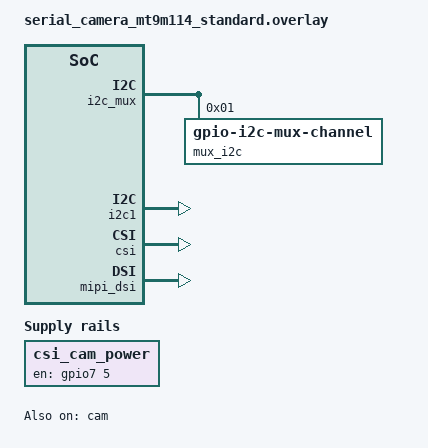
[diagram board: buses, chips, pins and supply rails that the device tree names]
/* Copyright (C) 2026 Alif Semiconductor - All Rights Reserved.
 * Use, distribution and modification of this code are permitted under the
 * terms stated in the Alif Semiconductor Software License Agreement.
 *
 * You should have received a copy of the Alif Semiconductor Software
 * License Agreement with this file. If not, please write to:
 * contact@alifsemi.com, or visit: https://alifsemi.com/license
 */

#include <dt-bindings/pinctrl/ensemble-pinctrl.h>
#include <dt-bindings/i2c/i2c.h>
#include <dt-bindings/gpio/gpio.h>
#include <dt-bindings/video/video-interfaces.h>

&i2c1 {
	status = "okay";
};

&gpio7 {
	status = "okay";
};

&gpio13 {
	status = "okay";
};

&gpio14 {
	status = "okay";
};

/ {
	csi_cam_power: regulator-v1.2-v1.8v {
		compatible = "regulator-fixed";

		regulator-name = "MIPI supply";

		enable-gpios = < &gpio7 5 GPIO_ACTIVE_HIGH >;

		regulator-boot-on;
		regulator-always-on;
		status = "okay";
	};

	i2c_mux: i2c-mux {
		compatible = "gpio-i2c-mux";
		status = "okay";
		#address-cells = <1>;
		#size-cells = <0>;

		i2c-inst = <&i2c1>;

		ctrl-gpios = <&gpio14 3 GPIO_ACTIVE_HIGH>;

		mux_i2c@1 {
			compatible = "gpio-i2c-mux-channel";
			reg = <1>;

			#address-cells = <1>;
			#size-cells = <0>;

			mt9m114_standard: mt9m114_standard@48 {
				compatible = "aptina,mt9m114";
				reg = <0x48>;

				reset-gpios = <&gpio13 0 GPIO_ACTIVE_HIGH>;

				status = "okay";

				port {
					mt9m114_csi2_ep_out1: endpoint {
						bus-type = <VIDEO_BUS_TYPE_CSI2_DPHY>;
						link-frequencies = < 384000000 >;
						data-lanes = <1>;
						clock-lane = <0>;

						remote-endpoint-label = "csi2_ep_in1";
					};
				};
			};
		};
	};
};

&cam {
	status = "okay";

	pinctrl-0 = <&pinctrl_cam_xvclk>;
	pinctrl-names = "default";

	ports {
		#address-cells = <1>;
		#size-cells = <0>;

		/* MIPI CSI-2 bus endpoint. */
		port@0 {
			reg = <0>;
			cam_csi2_ep_in: endpoint {
				remote-endpoint-label = "csi2_ep_out";
			};
		};

		/* Video buffer output endpoint. */
		port@1 {
			reg = <1>;
			cam_mem_ep_out: endpoint {
				remote-endpoint-label = "application";
			};
		};
	};
};

&csi {
	status = "okay";

	/* Standard camera D-PHY */
	phy-if = <&dphy 1>;
	ports {
		#address-cells = <1>;
		#size-cells = <0>;
		port@1 {
			reg = <1>;
			csi2_ep_in1: endpoint {
				bus-type = <VIDEO_BUS_TYPE_CSI2_DPHY>;
				link-frequencies = < 384000000 >;
				data-lanes = <1>;
				clock-lane = <0>;

				remote-endpoint-label = "mt9m114_csi2_ep_out1";
			};
		};
		port@2 {
			reg = <2>;
			csi2_ep_out: endpoint {
				remote-endpoint-label = "cam_csi2_ep_in";
				bus-type = <VIDEO_BUS_TYPE_PARALLEL>;
			};
		};
	};
};

&mipi_dsi {
	status = "okay";
};
&mw405 {
	status = "disabled";
};
